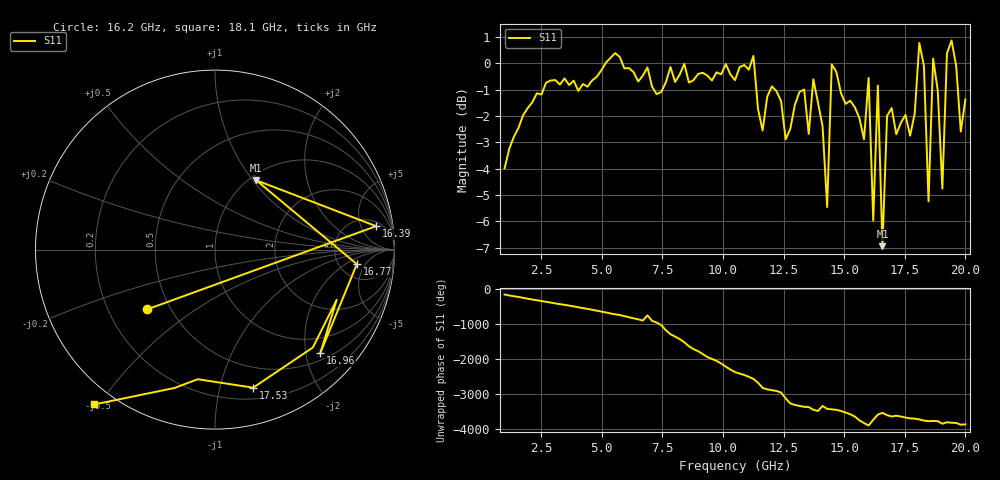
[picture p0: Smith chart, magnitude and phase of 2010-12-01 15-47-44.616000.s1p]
# GHz S RI R 50
!freq	ReS11	ImS11
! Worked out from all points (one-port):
!   101 points, 1 GHz to 20 GHz, reference 50 ohm
!   lowest |S11| = -6.9 dB at 16.58 GHz (marker M1), VSWR 2.63, Z = 53.7 + j52 ohm
!   |S11| at or under -10 dB: nowhere
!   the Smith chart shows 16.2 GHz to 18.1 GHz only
!   S11 on the Smith chart (normalised r, x): 16.2 GHz: 0.37, -0.33; 16.39 GHz: 6, +9; 16.77 GHz: 7.30, -3.21; 16.96 GHz: 0.65, -2.29; 17.53 GHz: 0.30, -1.27; 18.1 GHz: -0.06, -0.49
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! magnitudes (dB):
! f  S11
! 1 GHz  -4.0
! 3.47 GHz  -0.6
! 5.75 GHz  0.2
! 8.22 GHz  -0.4
! 10.5 GHz  -0.6
! 12.97 GHz  -1.6
! 13.54 GHz  -2.7
! 13.73 GHz  -0.6
! 14.3 GHz  -5.5
! 14.49 GHz  0.0
! 15.25 GHz  -1.4
! 15.82 GHz  -2.9
! 16.01 GHz  -0.6
! 16.2 GHz  -6.0
! 16.39 GHz  -0.8
! 16.58 GHz  -6.9
! 16.77 GHz  -2.0
! 16.96 GHz  -1.7
! 17.53 GHz  -2.0
! 17.72 GHz  -2.8
! 18.1 GHz  0.8
! 18.29 GHz  -0.1
! 18.48 GHz  -5.2
! 18.67 GHz  0.2
! 19.05 GHz  -4.8
! 19.24 GHz  0.4
! 19.81 GHz  -2.6
! 20 GHz  -1.4
